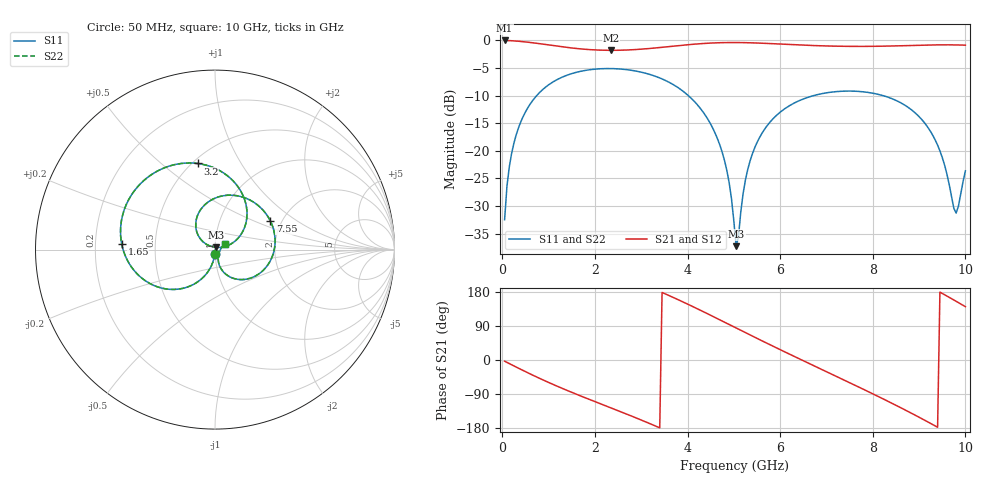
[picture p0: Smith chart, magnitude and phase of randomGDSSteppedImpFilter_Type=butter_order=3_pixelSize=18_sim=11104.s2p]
! freq	dB(S11)	phase(S11)	dB(S12)	phase(S12)
!  dB(S21)	phase(S21)	dB(S22)	phase(S22)
!S-par simulation data
#  GHz  S  DB  R 50
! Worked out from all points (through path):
!   200 points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, 50 MHz to 10 GHz, reference 50 ohm
!   highest |S21| = 0.00 dB at 50 MHz (marker M1); lowest = -1.8 dB at 2.35 GHz (marker M2)
!   group delay of S21, straight-line fit = 159 ps
!   lowest |S11| = -37.3 dB at 5.05 GHz (marker M3), VSWR 1.03, Z = 50.5 + j1.26 ohm
!   |S11| at or under -10 dB: start of sweep to 743.4 MHz; 4.017 GHz to 6.723 GHz (2.706 GHz wide, 50.4 % of centre); 8.221 GHz to end of sweep
!   |S22| runs from -37.2 to -5.1 dB; largest |S21 - S12| = 0
!   S11 on the Smith chart (normalised r, x): 50 MHz: 1.00, -0.05; 1.65 GHz: 0.32, +0.03; 3.2 GHz: 0.53, +0.67; 7.55 GHz: 1.75, +0.63; 10 GHz: 1.12, +0.07
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0.05  -32.49 -93.1  -0.00 -3.2  -0.00 -3.2  -32.49 -93.1
0.2  -20.53 -102.8  -0.06 -12.5  -0.06 -12.5  -20.53 -102.8
0.45  -13.80 -118.2  -0.23 -27.7  -0.23 -27.7  -13.80 -118.2
1  -8.05 -149.8  -0.82 -59.3  -0.82 -59.3  -8.05 -149.8
1.65  -5.67 176.7  -1.50 -92.8  -1.50 -92.8  -5.67 176.7
1.75  -5.50 171.8  -1.58 -97.7  -1.58 -97.7  -5.50 171.8
2.35  -5.10 143.1  -1.79 -126.5  -1.79 -126.5  -5.10 143.1
3.2  -6.20 101.5  -1.45 -168.6  -1.45 -168.6  -6.20 101.5
3.4  -6.80 91.2  -1.29 -179.1  -1.29 -179.1  -6.80 91.2
4  -9.87 58.8  -0.78 147.6  -0.78 147.6  -9.87 58.8
4.6  -16.89 26.2  -0.44 111.9  -0.44 111.9  -16.89 26.3
4.9  -25.85 17.5  -0.38 93.6  -0.38 93.6  -25.84 17.6
5.05  -37.29 65.7  -0.38 84.4  -0.38 84.4  -37.25 65.9
5.25  -25.30 148.0  -0.40 72.3  -0.40 72.3  -25.29 148.0
5.55  -17.68 138.1  -0.48 54.1  -0.48 54.1  -17.67 138.1
6.15  -12.09 105.6  -0.72 18.5  -0.72 18.5  -12.09 105.6
6.7  -10.05 74.8  -0.92 -13.5  -0.92 -13.5  -10.05 74.8
7.55  -9.19 27.2  -1.08 -62.7  -1.08 -62.7  -9.18 27.3
8.35  -10.35 -17.6  -1.02 -110.3  -1.02 -110.3  -10.35 -17.5
9.25  -16.54 -66.6  -0.82 -167.4  -0.82 -167.4  -16.53 -66.3
9.8  -31.29 -19.6  -0.81 154.9  -0.81 154.9  -31.10 -19.8
10  -23.64 30.0  -0.86 140.7  -0.86 140.7  -23.64 29.8
